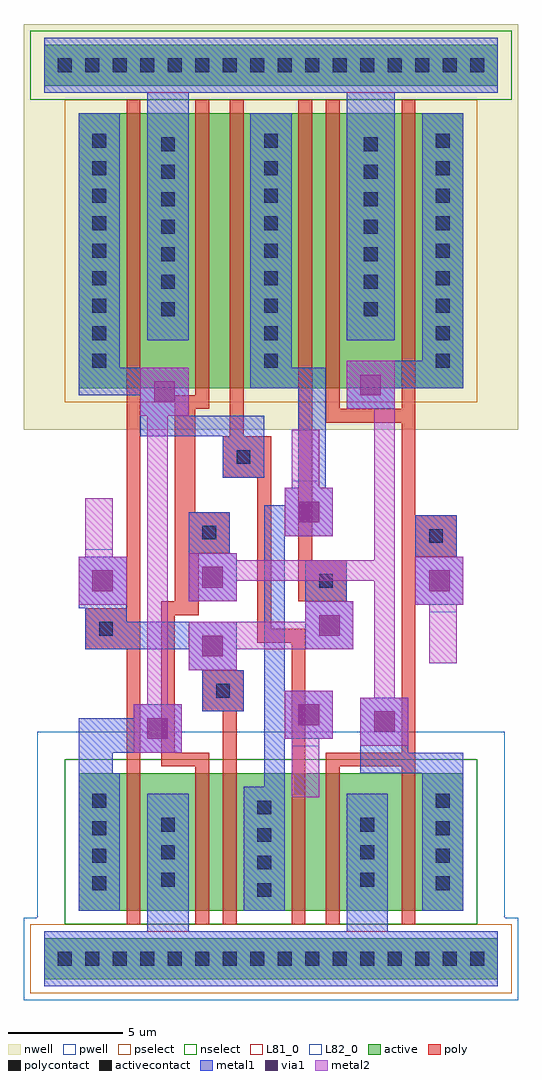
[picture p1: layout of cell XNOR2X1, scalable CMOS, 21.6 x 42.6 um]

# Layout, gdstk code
import gdstk
lib = gdstk.Library(unit=1e-6, precision=1e-09)
def R(c, l, rs):  # rectangles x0, y0, x1, y1
    for r in rs: c.add(gdstk.rectangle(r[:2], r[2:], *l))
def A(c, l, x, y, w, h, nx, ny, dx, dy):  # array of equal rectangles
    R(c, l, [(x+i*dx, y+j*dy, x+i*dx+w, y+j*dy+h) for i in range(nx) for j in range(ny)])
pwell = (41, 0)
nwell = (42, 0)
active = (43, 0)
pselect = (44, 0)
nselect = (45, 0)
poly = (46, 0)
polycontact = (47, 0)
activecontact = (48, 0)
metal1 = (49, 0)
via1 = (50, 0)
metal2 = (51, 0)
L81_0 = (81, 0)
L82_0 = (82, 0)

xnor2x1 = lib.new_cell('XNOR2X1')
R(xnor2x1, pwell, [(-1.8,-1.8,19.8,1.8), (-1.2,1.8,19.2,9.9)])
R(xnor2x1, nwell, [(-1.8,23.1,19.8,40.8)])
R(xnor2x1, active, [(-0.9,-0.9,18.9,0.9), (0.6,2.1,17.4,8.1), (0.6,24.9,17.4,36.9), (-0.9,38.1,18.9,39.9)])
R(xnor2x1, pselect, [(-1.5,-1.5,19.5,1.5), (0,24.3,18,37.5)])
R(xnor2x1, nselect, [(0,1.5,18,8.7), (-1.5,37.5,19.5,40.5)])
R(xnor2x1, poly, [(2.7,1.5,3.3,13.5), (5.7,1.5,6.3,8.4), (6.9,1.5,7.5,10.8), (9.9,1.5,10.5,13.8), (11.4,1.5,12,8.4), (14.7,1.5,15.3,8.4), (4.2,8.4,6.3,9), (11.4,8.4,15.3,9), (4.2,9,4.8,15), (14.7,9,15.3,17.55), (6,10.8,7.8,12.6), (0.9,13.5,3.3,15.3), (8.4,13.8,10.5,14.4), (8.4,14.4,9,21), (4.2,15,5.85,15.6), (2.7,15.3,3.3,37.5), (4.8,15.6,5.85,17.7), (10.2,15.6,12.3,17.4), (10.2,17.4,10.8,37.5), (14.7,17.55,17.1,19.35), (4.8,17.7,7.2,19.5), (14.7,19.35,15.3,23.4), (4.8,19.5,5.7,24), (6.9,21,9,22.8), (7.2,22.8,7.8,37.5), (11.4,23.4,15.3,24), (4.8,24,6.3,24.6), (11.4,24,12,37.5), (14.7,24,15.3,37.5), (5.7,24.6,6.3,37.5)])
R(xnor2x1, polycontact, [(6.6,11.4,7.2,12), (1.5,14.1,2.1,14.7), (11.1,16.2,11.7,16.8), (15.9,18.15,16.5,18.75), (6,18.3,6.6,18.9), (7.5,21.6,8.1,22.2)])
A(xnor2x1, activecontact, -0.3, -0.3, 0.6, 0.6, 16, 2, 1.2, 39)
A(xnor2x1, activecontact, 8.4, 2.7, 0.6, 0.6, 1, 4, 0, 1.2)
A(xnor2x1, activecontact, 1.2, 3, 0.6, 0.6, 1, 4, 0, 1.2)
A(xnor2x1, activecontact, 16.2, 3, 0.6, 0.6, 1, 4, 0, 1.2)
A(xnor2x1, activecontact, 4.2, 3.15, 0.6, 0.6, 1, 3, 0, 1.2)
A(xnor2x1, activecontact, 12.9, 3.15, 0.6, 0.6, 1, 3, 0, 1.2)
A(xnor2x1, activecontact, 1.2, 25.8, 0.6, 0.6, 3, 9, 7.5, 1.2)
A(xnor2x1, activecontact, 4.2, 28.05, 0.6, 0.6, 1, 7, 0, 1.2)
A(xnor2x1, activecontact, 13.05, 28.05, 0.6, 0.6, 1, 7, 0, 1.2)
R(xnor2x1, metal1, [(-0.9,-1.2,18.9,1.2), (3.6,1.2,5.4,7.2), (12.3,1.2,14.1,7.2), (0.6,2.1,2.4,8.1), (7.8,2.1,9.6,7.5), (15.6,2.1,17.4,8.1), (8.7,7.5,9.6,9.6), (0.6,8.1,2.1,9), (12.9,8.1,17.4,9), (0.6,9,5.1,10.5), (12.9,9,15,11.4), (8.7,9.6,11.7,11.7), (3,10.5,5.1,11.1), (6,10.8,7.8,12.6), (8.7,11.7,9.6,18.45), (5.4,12.6,7.5,13.5), (0.9,13.5,7.5,14.7), (10.5,13.5,12.6,15.6), (0.9,14.7,2.7,15.3), (0.6,15.3,2.7,17.55), (15.3,15.45,17.4,17.55), (5.4,15.6,7.5,17.7), (10.5,15.6,12.3,17.4), (15.3,17.55,17.1,19.35), (5.4,17.7,7.2,19.5), (8.7,18.45,11.7,19.8), (9.6,19.8,11.7,20.55), (10.2,20.55,11.4,24.9), (6.9,21,8.7,22.8), (3.3,22.8,8.7,23.7), (3.3,23.7,5.4,24.6), (12.3,24,14.4,24.9), (0.6,24.6,5.4,25.8), (8.1,24.9,11.4,25.8), (12.3,24.9,17.4,26.1), (0.6,25.8,2.4,36.9), (8.1,25.8,9.9,36.9), (15.6,26.1,17.4,36.9), (3.6,27,5.4,37.8), (12.3,27,14.4,37.8), (-0.9,37.8,18.9,40.2)])
R(xnor2x1, via1, [(3.6,9.6,4.5,10.5), (13.5,9.9,14.4,10.8), (10.2,10.2,11.1,11.1), (6,13.2,6.9,14.1), (11.1,14.1,12,15), (1.2,16.05,2.1,16.95), (15.9,16.05,16.8,16.95), (6,16.2,6.9,17.1), (10.2,19.05,11.1,19.95), (3.9,24.3,4.8,25.2), (12.9,24.6,13.8,25.5)])
R(xnor2x1, metal2, [(9.9,7.05,11.1,9.6), (3,9,5.1,11.1), (12.9,9.3,15,11.4), (9.6,9.6,11.7,11.7), (3.6,11.1,4.5,23.7), (13.5,11.4,14.4,16.5), (5.4,12.6,7.5,13.5), (15.9,12.9,17.1,15.45), (5.4,13.5,12.6,14.7), (10.5,14.7,12.6,15.6), (0.6,15.45,2.7,17.55), (15.3,15.45,17.4,17.55), (5.4,15.6,7.5,16.5), (5.4,16.5,14.4,17.4), (5.4,17.4,7.5,17.7), (13.5,17.4,14.4,24), (0.9,17.55,2.1,20.1), (9.6,18.45,11.7,20.55), (9.9,20.55,11.1,23.1), (3.3,23.7,5.4,25.8), (12.3,24,14.4,26.1)])
R(xnor2x1, L81_0, [(-0.9,-1.2,18.9,1.2), (-0.9,37.8,18.9,40.2)])
R(xnor2x1, L82_0, [(9.9,7.05,11.1,9.3), (15.9,12.9,17.1,15.15), (0.9,17.85,2.1,20.1), (9.9,20.85,11.1,23.1)])

lib.write_gds('XNOR2X1.gds')
